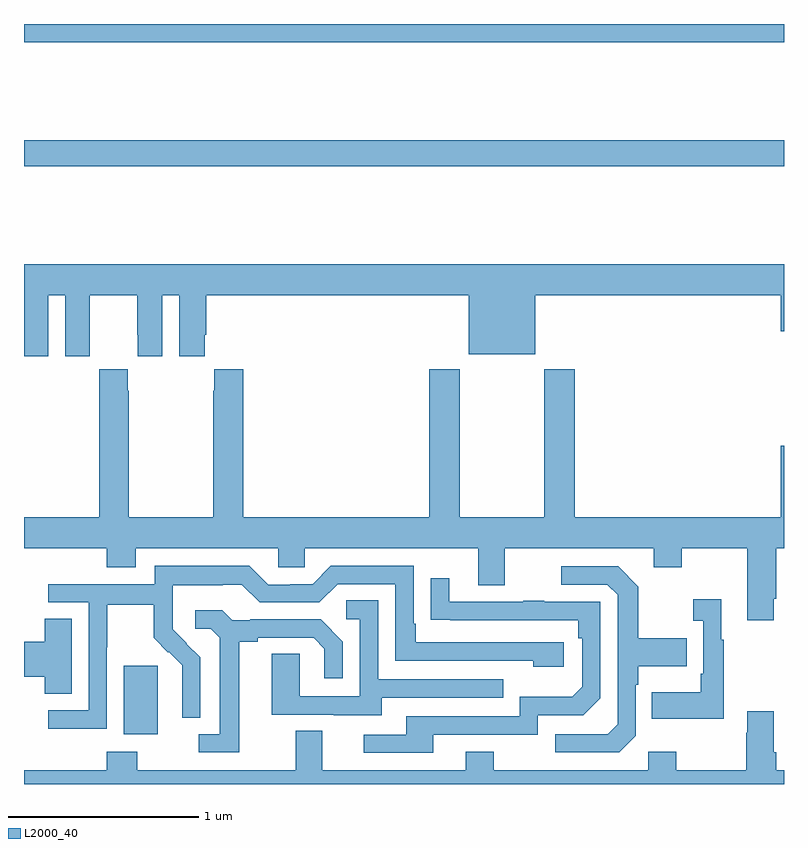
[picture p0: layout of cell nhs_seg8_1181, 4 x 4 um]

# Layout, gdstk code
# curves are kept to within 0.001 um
import gdstk
lib = gdstk.Library(unit=1e-6, precision=1e-09)
def R(c, l, rs):  # rectangles x0, y0, x1, y1
    for r in rs: c.add(gdstk.rectangle(r[:2], r[2:], *l))
def P(c, l, *ps):  # polygons
    for p in ps: c.add(gdstk.Polygon(p, *l))
L2000_40 = (2000, 40)

nhs_seg8_1181 = lib.new_cell('nhs_seg8_1181')
R(nhs_seg8_1181, L2000_40, [(185.525,1142.162,185.704,1142.523), (185,1145.152,189,1145.288), (185,1145.804,189,1145.9)])
P(nhs_seg8_1181, L2000_40, [(185.128,1144.472),(185.216,1144.472),(185.216,1144.152),(185.346,1144.152),(185.346,1144.264),(185.347,1144.264),(185.347,1144.472),(185.597,1144.472),(185.597,1144.264),(185.598,1144.264),(185.598,1144.152),(185.728,1144.152),(185.728,1144.472),(185.816,1144.472),(185.816,1144.152),(185.95,1144.152),(185.95,1144.264),(185.96,1144.264),(185.96,1144.472),(187.34,1144.472),(187.34,1144.163),(187.69,1144.163),(187.69,1144.472),(188.984,1144.472),(188.984,1144.284),(189,1144.284),(189,1144.636),(185,1144.636),(185,1144.152),(185.128,1144.152)],
  [(188.947,1142.875),(188.96,1142.875),(188.96,1143.14),(189,1143.14),(189,1143.679),(188.984,1143.679),(188.984,1143.304),(187.898,1143.304),(187.898,1144.084),(187.738,1144.084),(187.738,1143.304),(187.293,1143.304),(187.293,1144.084),(187.133,1144.084),(187.133,1143.304),(186.155,1143.304),(186.155,1144.084),(186.001,1144.084),(186.001,1143.971),(185.995,1143.971),(185.995,1143.304),(185.55,1143.304),(185.55,1143.971),(185.547,1143.971),(185.547,1144.084),(185.397,1144.084),(185.397,1143.971),(185.395,1143.971),(185.395,1143.304),(185,1143.304),(185,1143.14),(185.435,1143.14),(185.435,1143.041),(185.587,1143.041),(185.587,1143.14),(186.339,1143.14),(186.339,1143.042),(186.477,1143.042),(186.477,1143.14),(187.391,1143.14),(187.391,1142.946),(187.531,1142.946),(187.531,1143.14),(188.315,1143.14),(188.315,1143.041),(188.463,1143.041),(188.463,1143.14),(188.807,1143.14),(188.807,1142.763),(188.947,1142.763)],
  [(185.436,1142.62),(185.439,1142.62),(185.439,1142.844),(185.683,1142.844),(185.683,1142.669),(185.76,1142.592),(185.763,1142.595),(185.834,1142.525),(185.834,1142.402),(185.832,1142.402),(185.832,1142.248),(185.928,1142.248),(185.928,1142.566),(185.782,1142.714),(185.782,1142.811),(185.784,1142.811),(185.784,1142.945),(186.047,1142.945),(186.047,1142.949),(186.147,1142.949),(186.24,1142.856),(186.555,1142.856),(186.651,1142.952),(186.954,1142.952),(186.954,1142.55),(187.679,1142.55),(187.679,1142.516),(187.84,1142.516),(187.84,1142.646),(187.063,1142.646),(187.063,1142.743),(187.05,1142.743),(187.05,1143.048),(186.615,1143.048),(186.519,1142.952),(186.401,1142.952),(186.401,1142.949),(186.285,1142.949),(186.185,1143.049),(185.688,1143.049),(185.688,1142.952),(185.127,1142.952),(185.127,1142.856),(185.34,1142.856),(185.34,1142.289),(185.127,1142.289),(185.127,1142.191),(185.436,1142.191)],
  [(188.22,1142.154),(188.22,1142.423),(188.233,1142.423),(188.233,1142.519),(188.489,1142.519),(188.489,1142.667),(188.233,1142.667),(188.233,1142.939),(188.127,1143.045),(187.827,1143.045),(187.827,1142.949),(188.07,1142.949),(188.124,1142.895),(188.124,1142.214),(188.073,1142.163),(187.797,1142.163),(187.797,1142.067),(188.133,1142.067)],
  [(187.153,1142.16),(187.704,1142.16),(187.704,1142.262),(187.944,1142.262),(188.034,1142.352),(188.034,1142.859),(187.739,1142.859),(187.739,1142.864),(187.627,1142.864),(187.627,1142.859),(187.237,1142.859),(187.237,1142.983),(187.141,1142.983),(187.141,1142.764),(187.918,1142.763),(187.918,1142.666),(187.938,1142.666),(187.938,1142.412),(187.885,1142.359),(187.608,1142.359),(187.608,1142.256),(187.013,1142.256),(187.013,1142.16),(186.789,1142.16),(186.789,1142.064),(187.153,1142.064)],
  [(188.683,1142.659),(188.671,1142.659),(188.671,1142.872),(188.523,1142.872),(188.523,1142.759),(188.574,1142.759),(188.574,1142.479),(188.562,1142.479),(188.562,1142.383),(188.305,1142.383),(188.305,1142.243),(188.683,1142.243)],
  [(186.883,1142.355),(187.523,1142.355),(187.523,1142.451),(186.864,1142.451),(186.864,1142.867),(186.696,1142.867),(186.696,1142.766),(186.768,1142.766),(186.768,1142.361),(186.45,1142.361),(186.45,1142.585),(186.305,1142.585),(186.305,1142.265),(186.629,1142.265),(186.629,1142.261),(186.883,1142.261)],
  [(186.133,1142.648),(186.229,1142.648),(186.229,1142.67),(186.524,1142.67),(186.581,1142.613),(186.581,1142.457),(186.678,1142.457),(186.678,1142.65),(186.562,1142.766),(186.19,1142.766),(186.19,1142.763),(186.096,1142.763),(186.044,1142.815),(185.901,1142.815),(185.901,1142.718),(185.982,1142.718),(186.029,1142.671),(186.029,1142.163),(185.919,1142.163),(185.919,1142.067),(186.133,1142.067)],
  [(185.251,1142.771),(185.108,1142.771),(185.108,1142.648),(185,1142.648),(185,1142.465),(185.108,1142.465),(185.108,1142.374),(185.251,1142.374)],
  [(189,1141.972),(188.96,1141.972),(188.96,1142.068),(188.947,1142.068),(188.947,1142.284),(188.807,1142.284),(188.807,1142.171),(188.8,1142.171),(188.8,1141.972),(188.433,1141.972),(188.433,1142.071),(188.286,1142.071),(188.286,1141.972),(187.473,1141.972),(187.473,1142.071),(187.325,1142.071),(187.325,1141.972),(186.571,1141.972),(186.571,1142.18),(186.431,1142.18),(186.431,1141.972),(185.595,1141.972),(185.595,1142.071),(185.435,1142.071),(185.435,1141.972),(185,1141.972),(185,1141.9),(189,1141.9)])

lib.write_gds('nhs_seg8_1181.gds')
